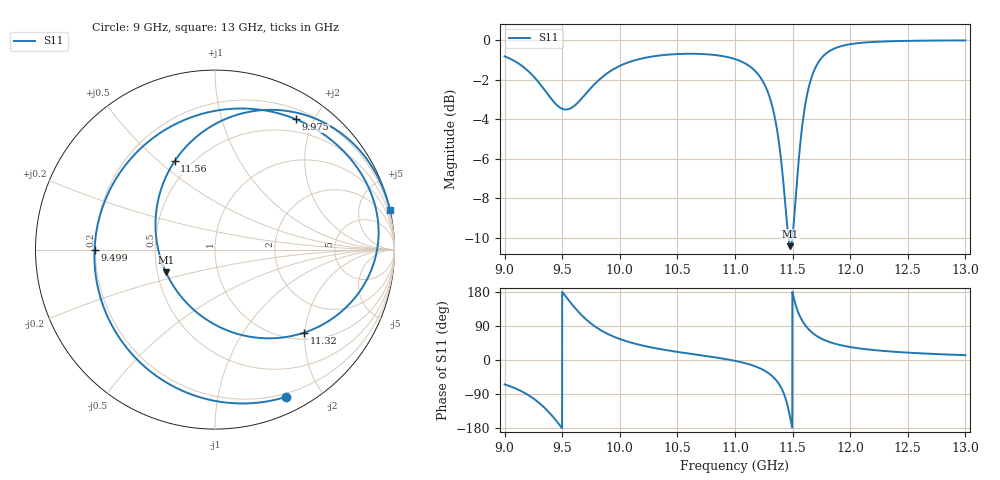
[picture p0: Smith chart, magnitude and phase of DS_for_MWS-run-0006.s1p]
! TOUCHSTONE file generated by CST DESIGN STUDIO
! Date and time: Tue Feb  4 16:47:14 2025
! Project name: C:\Work\MatlabApps\UnitCellOptimizationMatlab\CST\unitcell.cst
! Tree item: Tasks\Sweep1\SPara1\S-Parameters
! Header version: 2024
! Port assignment regex: !\s*Touchstone port\s*([0-9]+)\s*=\s*(CST MWS port|CST DES external port|CST DES block port)\s*(.+)\s* \(\"(.*)\"\)(\s*mode\s*([0-9]+))?.*
! Touchstone port assignment:
! Touchstone port 1 = CST DES external port 1 ("")
# GHz S MA R 50
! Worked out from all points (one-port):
!   4001 points, 9 GHz to 13 GHz, reference 50 ohm
!   lowest |S11| = -10.4 dB at 11.48 GHz (marker M1), VSWR 1.86, Z = 27.8 - j7.79 ohm
!   |S11| at or under -10 dB: 11.46415 GHz to 11.49794 GHz (33.79 MHz wide, 0.294 % of centre)
!   S11 on the Smith chart (normalised r, x): 9 GHz: 0.16, -1.58; 9.499 GHz: 0.20, -0.00; 9.975 GHz: 0.32, +1.75; 11.32 GHz: 1.15, -1.98; 11.56 GHz: 0.41, +0.57; 13 GHz: 0.02, +8.96
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9  0.9113 -64.2
9.164  0.856 -85.3
9.28  0.7929 -108.4
9.381  0.7261 -136.7
9.499  0.6713 -179.8
9.5  0.6711 179.8
9.613  0.6858 136.6
9.71  0.7354 106.4
9.821  0.795 81.3
9.975  0.8548 58.2
10  0.8619 55.4
10.214  0.9028 37.0
10.5  0.9236 21.4
11  0.8967 -2.2
11.198  0.8224 -19.4
11.325  0.6783 -43.0
11.411  0.4644 -79.5
11.446  0.3574 -108.8
11.481  0.3012 -154.9
11.5  0.32 177.1
11.531  0.413 140.8
11.565  0.542 114.4
11.641  0.7623 80.5
11.753  0.9039 55.9
11.859  0.9527 43.7
12  0.9781 34.2
12.5  0.9973 19.4
13  0.9996 12.7
